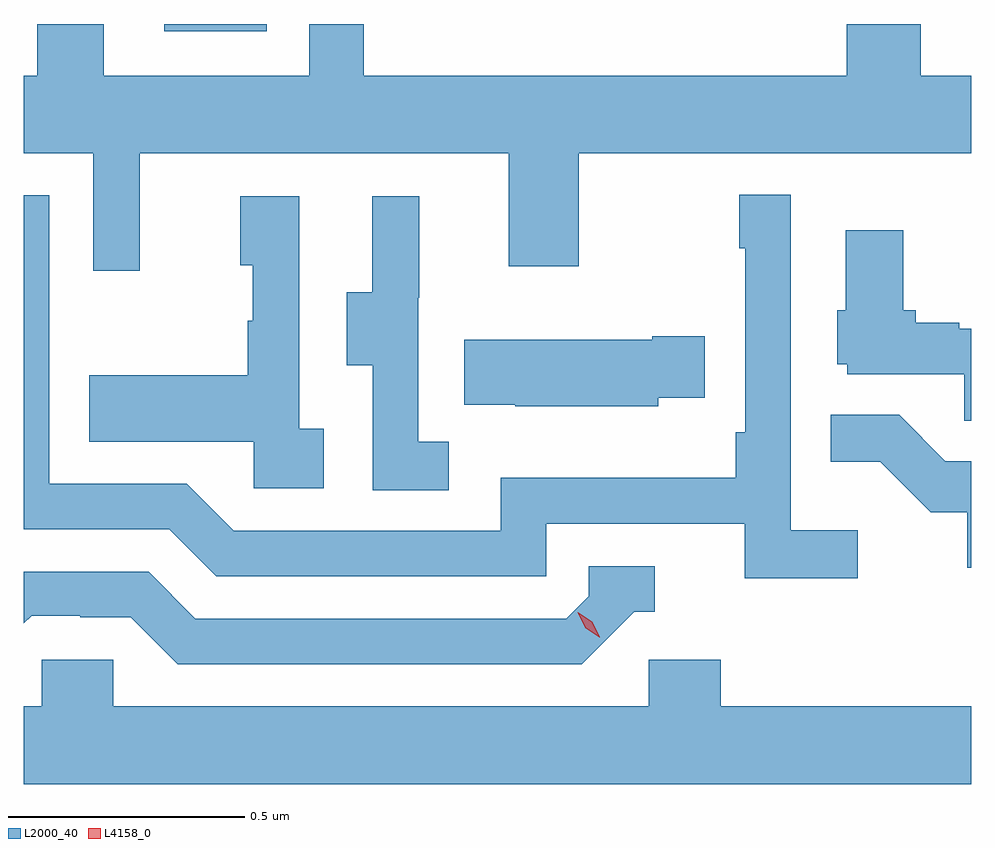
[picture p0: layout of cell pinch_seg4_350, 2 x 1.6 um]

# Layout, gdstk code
import gdstk
lib = gdstk.Library(unit=1e-6, precision=1e-09)
def R(c, l, rs):  # rectangles x0, y0, x1, y1
    for r in rs: c.add(gdstk.rectangle(r[:2], r[2:], *l))
def P(c, l, *ps):  # polygons
    for p in ps: c.add(gdstk.Polygon(p, *l))
L2000_40 = (2000, 40)
L4158_0 = (4158, 0)

pinch_seg4_350 = lib.new_cell('pinch_seg4_350')
R(pinch_seg4_350, L2000_40, [(997.533,803.738,997.75,803.753)])
P(pinch_seg4_350, L2000_40, [(997.481,803.48),(998.261,803.48),(998.261,803.241),(998.409,803.241),(998.409,803.48),(999.237,803.48),(999.237,803.644),(999.131,803.644),(999.131,803.753),(998.975,803.753),(998.975,803.644),(997.955,803.644),(997.955,803.753),(997.839,803.753),(997.839,803.644),(997.405,803.644),(997.405,803.753),(997.265,803.753),(997.265,803.644),(997.237,803.644),(997.237,803.48),(997.383,803.48),(997.383,803.232),(997.481,803.232)],
  [(998.998,802.684),(998.856,802.684),(998.856,803.392),(998.748,803.392),(998.748,803.279),(998.76,803.279),(998.76,802.891),(998.74,802.891),(998.74,802.795),(998.244,802.795),(998.244,802.683),(997.68,802.683),(997.581,802.782),(997.29,802.782),(997.29,803.391),(997.237,803.391),(997.237,802.686),(997.544,802.686),(997.643,802.587),(998.34,802.587),(998.34,802.698),(998.759,802.698),(998.759,802.582),(998.998,802.582)],
  [(997.87,802.898),(997.818,802.898),(997.818,803.389),(997.694,803.389),(997.694,803.244),(997.72,803.244),(997.72,803.126),(997.71,803.126),(997.71,803.011),(997.375,803.011),(997.375,802.871),(997.722,802.871),(997.722,802.773),(997.87,802.773)],
  [(998.134,802.871),(998.07,802.871),(998.07,803.175),(998.072,803.175),(998.072,803.389),(997.973,803.389),(997.973,803.187),(997.919,803.187),(997.919,803.032),(997.974,803.032),(997.974,802.768),(998.134,802.768)],
  [(999.237,803.109),(999.212,803.109),(999.212,803.122),(999.12,803.122),(999.12,803.148),(999.094,803.148),(999.094,803.317),(998.972,803.317),(998.972,803.148),(998.954,803.148),(998.954,803.034),(998.976,803.034),(998.976,803.013),(999.223,803.013),(999.223,802.915),(999.237,802.915)],
  [(998.577,802.964),(998.675,802.964),(998.675,803.094),(998.564,803.094),(998.564,803.086),(998.167,803.086),(998.167,802.949),(998.275,802.949),(998.275,802.946),(998.577,802.946)],
  [(999.237,802.83),(999.183,802.83),(999.085,802.928),(998.941,802.928),(998.941,802.829),(999.045,802.829),(999.152,802.722),(999.229,802.722),(999.229,802.605),(999.237,802.605)],
  [(998.526,802.512),(998.569,802.512),(998.569,802.608),(998.43,802.608),(998.43,802.545),(998.382,802.497),(997.599,802.497),(997.5,802.596),(997.237,802.596),(997.237,802.487),(997.253,802.503),(997.356,802.503),(997.356,802.5),(997.463,802.5),(997.562,802.401),(998.415,802.401)],
  [(999.237,802.312),(998.708,802.312),(998.708,802.41),(998.556,802.41),(998.556,802.312),(997.425,802.312),(997.425,802.41),(997.275,802.41),(997.275,802.312),(997.237,802.312),(997.237,802.148),(999.237,802.148)])
P(pinch_seg4_350, L4158_0, [(998.452,802.458),(998.422,802.478),(998.406,802.511),(998.406,802.511),(998.406,802.511),(998.437,802.491),(998.453,802.459),(998.453,802.458)])

lib.write_gds('pinch_seg4_350.gds')
